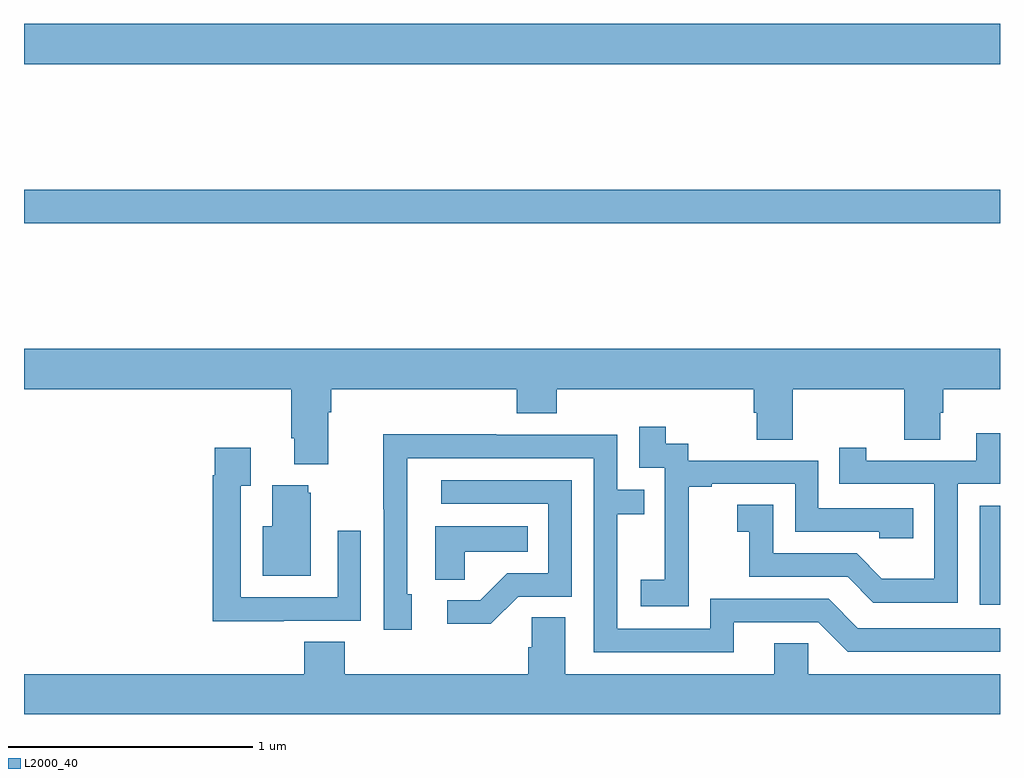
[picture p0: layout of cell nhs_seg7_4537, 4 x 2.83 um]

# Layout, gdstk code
import gdstk
lib = gdstk.Library(unit=1e-6, precision=1e-09)
def R(c, l, rs):  # rectangles x0, y0, x1, y1
    for r in rs: c.add(gdstk.rectangle(r[:2], r[2:], *l))
def P(c, l, *ps):  # polygons
    for p in ps: c.add(gdstk.Polygon(p, *l))
L2000_40 = (2000, 40)

nhs_seg7_4537 = lib.new_cell('nhs_seg7_4537')
R(nhs_seg7_4537, L2000_40, [(398.916,1065,399,1065.405), (395,1066.564,399,1066.7), (395,1067.216,399,1067.38)])
P(nhs_seg7_4537, L2000_40, [(396.247,1065.788),(396.26,1065.788),(396.26,1065.884),(397.019,1065.884),(397.019,1065.785),(397.184,1065.785),(397.184,1065.884),(397.991,1065.884),(397.991,1065.786),(398.003,1065.786),(398.003,1065.676),(398.151,1065.676),(398.151,1065.884),(398.608,1065.884),(398.608,1065.676),(398.755,1065.676),(398.755,1065.786),(398.768,1065.786),(398.768,1065.884),(399,1065.884),(399,1066.048),(395,1066.048),(395,1065.884),(396.095,1065.884),(396.095,1065.682),(396.107,1065.682),(396.107,1065.575),(396.247,1065.575)],
  [(397.725,1065.199),(397.724,1065.199),(397.724,1065.483),(397.819,1065.483),(397.819,1065.495),(398.16,1065.495),(398.16,1065.3),(398.505,1065.3),(398.505,1065.273),(398.645,1065.273),(398.645,1065.396),(398.256,1065.396),(398.256,1065.591),(397.722,1065.591),(397.722,1065.66),(397.63,1065.66),(397.63,1065.73),(397.521,1065.73),(397.521,1065.561),(397.626,1065.561),(397.626,1065.332),(397.625,1065.332),(397.625,1065.103),(397.527,1065.103),(397.527,1064.993),(397.725,1064.993)],
  [(398.826,1065.495),(399,1065.495),(399,1065.703),(398.903,1065.703),(398.903,1065.591),(398.452,1065.591),(398.452,1065.643),(398.341,1065.643),(398.341,1065.495),(398.73,1065.495),(398.73,1065.106),(398.516,1065.106),(398.412,1065.21),(398.07,1065.21),(398.07,1065.409),(397.923,1065.409),(397.923,1065.299),(397.972,1065.299),(397.972,1065.114),(398.375,1065.114),(398.48,1065.009),(398.826,1065.009)],
  [(397.909,1064.928),(398.256,1064.928),(398.376,1064.808),(399,1064.808),(399,1064.904),(398.418,1064.904),(398.298,1065.024),(397.812,1065.024),(397.812,1064.901),(397.431,1064.901),(397.431,1065.37),(397.541,1065.37),(397.541,1065.471),(397.431,1065.471),(397.431,1065.696),(396.935,1065.696),(396.935,1065.698),(396.472,1065.698),(396.472,1065.391),(396.474,1065.391),(396.474,1064.898),(396.589,1064.898),(396.589,1065.042),(396.57,1065.042),(396.57,1065.6),(397.335,1065.6),(397.335,1064.805),(397.909,1064.805)],
  [(396.065,1064.934),(396.381,1064.934),(396.381,1065.304),(396.285,1065.304),(396.285,1065.03),(395.889,1065.03),(395.889,1065.487),(395.929,1065.487),(395.929,1065.643),(395.781,1065.643),(395.781,1065.53),(395.773,1065.53),(395.773,1064.933),(396.065,1064.933)],
  [(397.026,1065.033),(397.245,1065.033),(397.245,1065.51),(396.711,1065.51),(396.711,1065.414),(397.149,1065.414),(397.149,1065.129),(396.98,1065.129),(396.869,1065.018),(396.735,1065.018),(396.735,1064.921),(396.913,1064.921)],
  [(396.175,1065.459),(396.164,1065.459),(396.164,1065.49),(396.017,1065.49),(396.017,1065.322),(395.978,1065.322),(395.978,1065.119),(396.175,1065.119)],
  [(396.807,1065.218),(397.064,1065.218),(397.064,1065.322),(396.686,1065.322),(396.686,1065.103),(396.807,1065.103)],
  [(399,1064.716),(398.214,1064.716),(398.214,1064.843),(398.075,1064.843),(398.075,1064.716),(397.219,1064.716),(397.219,1064.948),(397.08,1064.948),(397.08,1064.825),(397.067,1064.825),(397.067,1064.716),(396.314,1064.716),(396.314,1064.849),(396.149,1064.849),(396.149,1064.716),(395,1064.716),(395,1064.552),(399,1064.552)])

lib.write_gds('nhs_seg7_4537.gds')
